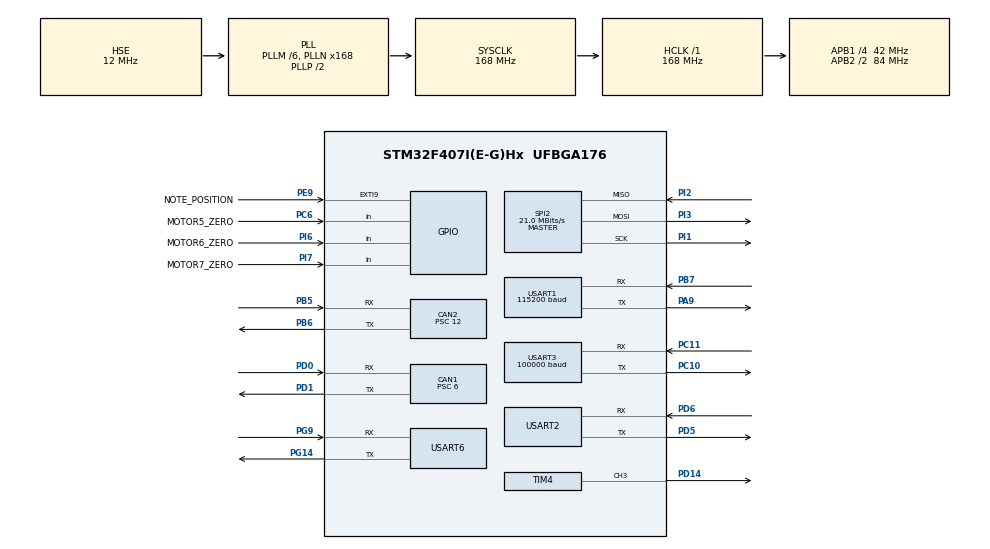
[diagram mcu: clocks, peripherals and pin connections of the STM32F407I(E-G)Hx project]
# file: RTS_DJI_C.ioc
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CAN1.BS1=CAN_BS1_4TQ
CAN1.BS2=CAN_BS2_2TQ
CAN1.CalculateBaudRate=1000000
CAN1.CalculateTimeBit=1000
CAN1.CalculateTimeQuantum=142.85714285714286
CAN1.Prescaler=6
CAN2.BS1=CAN_BS1_4TQ
CAN2.BS2=CAN_BS2_2TQ
CAN2.CalculateBaudRate=500000
CAN2.CalculateTimeBit=2000
CAN2.CalculateTimeQuantum=285.7142857142857
CAN2.Prescaler=12
CAN2.SJW=CAN_SJW_1TQ
FREERTOS.Tasks01=defaultTask,24,128,StartDefaultTask,Default,NULL,Dynamic,NULL,NULL;SBUS,22,128,SBUSTask,Default,NULL,Dynamic,NULL,NULL;ACTION,23,128,ACTIONTask,Default,NULL,Dynamic,NULL,NULL;Position,21,128,PositionTask,Default,NULL,Dynamic,NULL,NULL;Speed,8,128,SpeedTask,Default,NULL,Dynamic,NULL,NULL;IOcontrol,8,128,IOTask,Default,NULL,Dynamic,NULL,NULL;M3508_control,8,128,M3508_Task,Default,NULL,Dynamic,NULL,NULL;SerialPlot_Send,8,128,SerialPlot_Task,Default,NULL,Dynamic,NULL,NULL;Restart,8,128,Restart_Task,Default,NULL,Dynamic,NULL,NULL
Mcu.Family=STM32F4
Mcu.Name=STM32F407I(E-G)Hx
Mcu.Package=UFBGA176
NVIC.CAN1_RX0_IRQn=true\:5\:0\:false\:false\:true\:true\:true\:true\:true
NVIC.EXTI9_5_IRQn=true\:5\:0\:false\:false\:true\:true\:true\:true\:true
NVIC.PriorityGroup=NVIC_PRIORITYGROUP_4
NVIC.TIM4_IRQn=true\:5\:0\:false\:false\:true\:true\:true\:true\:true
NVIC.USART1_IRQn=true\:5\:0\:false\:false\:true\:true\:true\:true\:true
NVIC.USART2_IRQn=true\:5\:0\:false\:false\:true\:true\:true\:true\:true
NVIC.USART3_IRQn=true\:5\:0\:false\:false\:true\:true\:true\:true\:true
NVIC.USART6_IRQn=true\:5\:0\:false\:false\:true\:true\:true\:true\:true
PA13.Mode=Serial_Wire
PA13.Signal=SYS_JTMS-SWDIO
PA14.Mode=Serial_Wire
PA14.Signal=SYS_JTCK-SWCLK
PA9.Mode=Asynchronous
PA9.Signal=USART1_TX
PB5.Mode=CAN_Activate
PB5.Signal=CAN2_RX
PB6.Mode=CAN_Activate
PB6.Signal=CAN2_TX
PB7.Mode=Asynchronous
PB7.Signal=USART1_RX
PC10.Mode=Asynchronous
PC10.Signal=USART3_TX
PC11.Mode=Asynchronous
PC11.Signal=USART3_RX
PC6.GPIO_Label=MOTOR5_ZERO
PC6.GPIO_PuPd=GPIO_PULLUP
PC6.Signal=GPIO_Input
PD0.Mode=CAN_Activate
PD0.Signal=CAN1_RX
PD1.Mode=CAN_Activate
PD1.Signal=CAN1_TX
PD14.Signal=S_TIM4_CH3
PD5.Mode=Asynchronous
PD5.Signal=USART2_TX
PD6.Mode=Asynchronous
PD6.Signal=USART2_RX
PE9.GPIO_Label=NOTE_POSITION
PE9.GPIO_PuPd=GPIO_PULLDOWN
PE9.Signal=GPXTI9
PG14.Mode=Asynchronous
PG14.Signal=USART6_TX
PG9.Mode=Asynchronous
PG9.Signal=USART6_RX
PH0-OSC_IN.Mode=HSE-External-Oscillator
PH0-OSC_IN.Signal=RCC_OSC_IN
PH1-OSC_OUT.Mode=HSE-External-Oscillator
PH1-OSC_OUT.Signal=RCC_OSC_OUT
PI1.Mode=Full_Duplex_Master
PI1.Signal=SPI2_SCK
PI2.Mode=Full_Duplex_Master
PI2.Signal=SPI2_MISO
PI3.Mode=Full_Duplex_Master
PI3.Signal=SPI2_MOSI
PI6.GPIO_Label=MOTOR6_ZERO
PI6.GPIO_PuPd=GPIO_PULLUP
PI6.Signal=GPIO_Input
PI7.GPIO_Label=MOTOR7_ZERO
PI7.GPIO_PuPd=GPIO_PULLUP
PI7.Signal=GPIO_Input
ProjectManager.HeapSize=0x200
ProjectManager.StackSize=0x400
ProjectManager.TargetToolchain=EWARM V8.32
RCC.48MHZClocksFreq_Value=84000000
RCC.AHBFreq_Value=168000000
RCC.APB1CLKDivider=RCC_HCLK_DIV4
RCC.APB1Freq_Value=42000000
RCC.APB1TimFreq_Value=84000000
RCC.APB2CLKDivider=RCC_HCLK_DIV2
RCC.APB2Freq_Value=84000000
RCC.APB2TimFreq_Value=168000000
RCC.CortexFreq_Value=168000000
RCC.HCLKFreq_Value=168000000
RCC.HSE_VALUE=12000000
RCC.HSI_VALUE=16000000
RCC.LSE_VALUE=32768
RCC.PLLM=6
RCC.PLLN=168
RCC.PLLSourceVirtual=RCC_PLLSOURCE_HSE
RCC.SYSCLKFreq_VALUE=168000000
RCC.SYSCLKSource=RCC_SYSCLKSOURCE_PLLCLK
RCC.VCOOutputFreq_Value=336000000
SH.S_TIM4_CH3.0=TIM4_CH3,PWM Generation3 CH3
SPI2.CalculateBaudRate=21.0 MBits/s
SPI2.DataSize=SPI_DATASIZE_16BIT
SPI2.Direction=SPI_DIRECTION_2LINES
SPI2.Mode=SPI_MODE_MASTER
SPI2.VirtualType=VM_MASTER
TIM4.Channel-PWM\ Generation3\ CH3=TIM_CHANNEL_3
TIM4.Period=20999
TIM4.Prescaler=0
TIM4.Pulse-PWM\ Generation3\ CH3=1000
USART1.BaudRate=115200
USART1.Mode=MODE_TX_RX
USART1.StopBits=STOPBITS_1
USART1.VirtualMode=VM_ASYNC
USART2.VirtualMode=VM_ASYNC
USART3.BaudRate=100000
USART3.Mode=MODE_RX
USART3.StopBits=STOPBITS_2
USART3.VirtualMode=VM_ASYNC
USART6.VirtualMode=VM_ASYNC
VP_FREERTOS_VS_CMSIS_V2.Mode=CMSIS_V2
VP_TIM4_VS_ClockSourceINT.Mode=Internal
board=custom

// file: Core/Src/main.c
/* USER CODE BEGIN Header */
/**
  ******************************************************************************
  * @file           : main.c
  * @brief          : Main program body
  ******************************************************************************
  * @attention
  *
  * Copyright (c) 2023 STMicroelectronics.
  * All rights reserved.
  *
  * This software is licensed under terms that can be found in the LICENSE file
  * in the root directory of this software component.
  * If no LICENSE file comes with this software, it is provided AS-IS.
  *
  ******************************************************************************
  */
/* USER CODE END Header */
#include "main.h"
#include "cmsis_os.h"
#include "can.h"
#include "spi.h"
#include "tim.h"
#include "usart.h"
#include "gpio.h"

void SystemClock_Config(void);
void MX_FREERTOS_Init(void);

int main(void)
{

  /* MCU Configuration--------------------------------------------------------*/

  /* Reset of all peripherals, Initializes the Flash interface and the Systick. */
  HAL_Init();

  /* Configure the system clock */
  SystemClock_Config();

  /* Initialize all configured peripherals */
  MX_GPIO_Init();
  MX_CAN1_Init();
  MX_USART1_UART_Init();
  MX_USART6_UART_Init();
  MX_CAN2_Init();
  MX_USART3_UART_Init();
  MX_USART2_UART_Init();
  MX_TIM4_Init();
  MX_SPI2_Init();

  /* Init scheduler */
  osKernelInitialize();

  /* Call init function for freertos objects (in cmsis_os2.c) */
  MX_FREERTOS_Init();

  /* Start scheduler */
  osKernelStart();

  /* We should never get here as control is now taken by the scheduler */

  /* Infinite loop */
  /* USER CODE BEGIN WHILE */
  while (1)
  {
	  //Bee();
	  //Send_SerialPlot_Data(30, 60);
	  //HAL_Delay(10);
    /* USER CODE END WHILE */

  }
}

void SystemClock_Config(void)
{
  RCC_OscInitTypeDef RCC_OscInitStruct = {0};
  RCC_ClkInitTypeDef RCC_ClkInitStruct = {0};

  /** Configure the main internal regulator output voltage
  */
  __HAL_RCC_PWR_CLK_ENABLE();
  __HAL_PWR_VOLTAGESCALING_CONFIG(PWR_REGULATOR_VOLTAGE_SCALE1);

  /** Initializes the RCC Oscillators according to the specified parameters
  * in the RCC_OscInitTypeDef structure.
  */
  RCC_OscInitStruct.OscillatorType = RCC_OSCILLATORTYPE_HSE;
  RCC_OscInitStruct.HSEState = RCC_HSE_ON;
  RCC_OscInitStruct.PLL.PLLState = RCC_PLL_ON;
  RCC_OscInitStruct.PLL.PLLSource = RCC_PLLSOURCE_HSE;
  RCC_OscInitStruct.PLL.PLLM = 6;
  RCC_OscInitStruct.PLL.PLLN = 168;
  RCC_OscInitStruct.PLL.PLLP = RCC_PLLP_DIV2;
  RCC_OscInitStruct.PLL.PLLQ = 4;
  if (HAL_RCC_OscConfig(&RCC_OscInitStruct) != HAL_OK)
  {
    Error_Handler();
  }

  /** Initializes the CPU, AHB and APB buses clocks
  */
  RCC_ClkInitStruct.ClockType = RCC_CLOCKTYPE_HCLK|RCC_CLOCKTYPE_SYSCLK
                              |RCC_CLOCKTYPE_PCLK1|RCC_CLOCKTYPE_PCLK2;
  RCC_ClkInitStruct.SYSCLKSource = RCC_SYSCLKSOURCE_PLLCLK;
  RCC_ClkInitStruct.AHBCLKDivider = RCC_SYSCLK_DIV1;
  RCC_ClkInitStruct.APB1CLKDivider = RCC_HCLK_DIV4;
  RCC_ClkInitStruct.APB2CLKDivider = RCC_HCLK_DIV2;

  if (HAL_RCC_ClockConfig(&RCC_ClkInitStruct, FLASH_LATENCY_5) != HAL_OK)
  {
    Error_Handler();
  }
}

void Error_Handler(void)
{
  __disable_irq();
  while (1)
  {
  }
}

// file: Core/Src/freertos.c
/* USER CODE BEGIN Header */
/**
 ******************************************************************************
 * File Name          : freertos.c
 * Description        : Code for freertos applications
 ******************************************************************************
 * @attention
 *
 * Copyright (c) 2023 STMicroelectronics.
 * All rights reserved.
 *
 * This software is licensed under terms that can be found in the LICENSE file
 * in the root directory of this software component.
 * If no LICENSE file comes with this software, it is provided AS-IS.
 *
 ******************************************************************************
 */
/* USER CODE END Header */

#include "FreeRTOS.h"
#include "task.h"
#include "main.h"
#include "cmsis_os.h"

/* USER CODE BEGIN PD */

float pos_ball_x[10][10] = {0};
float pos_ball_y[10][10] = {0};
extern PIDType PID_Vx_move_distance;
extern PIDType PID_Vy_move_distance;
extern PIDType PID_w_move_distance;
extern PIDType M3508SpeedPID1;
extern PIDType M3508SpeedPID2;
extern PIDType M3508SpeedPID3;
extern PIDType M3508SpeedPID4; //{6, 0.1, 1, 0, 0, 0, 0};
extern PIDType M3508SpeedPID5;
extern PIDType M3508SpeedPID6; // {13, 0.72, 0, 0, 0, 0, 0};
// PIDType M3508SpeedPID4 = {8.2, 0.92, 0, 0, 0, 0, 0, 0, 0}; //{6, 0.1, 1, 0, 0, 0, 0};
// PIDType M3508SpeedPID5 = {8.2, 0.92, 0, 0, 0, 0, 0, 0, 0};
// PIDType M3508SpeedPID6 = {8.2, 0.92, 0, 0, 0, 0, 0, 0, 0}; // {13, 0.72, 0, 0, 0, 0, 0};
// PIDType M3508SpeedPID4 = {20, 0.1, 0, 0, 0, 0, 0, 0, 0}; //{6, 0.1, 1, 0, 0, 0, 0};
// PIDType M3508SpeedPID5 = {20, 0.1, 0, 0, 0, 0, 0, 0, 0};
// PIDType M3508SpeedPID6 = {20, 0.1, 0, 0, 0, 0, 0, 0, 0}; // {13, 0.72, 0, 0, 0, 0, 0};
extern PIDType M3508SpeedPID7;
extern PIDType M3508SpeedPID8;
/* USER CODE END PD */

/* USER CODE BEGIN PM */
int Motor5_Flag = 0;
int Motor6_Flag = 0;
int Motor7_Flag = 0;
float x_dist = 0, y_dist = 0;
int move_flag = 0;
int move_flag_laser = 0;
uint8_t shou_bin_enable = 0;

uint8_t now_pos_x = 0;
uint8_t now_pos_y = 0;
int next_pos_x = 0;
int next_pos_y = 0;
float next_distance_x = 0;
float next_distance_y = 0;
float act_err = 0;
uint8_t pid_done_ball = 0;
// uint8_t flag_test_action = 0;

char staus_char = 0;
// ********************* PID correct struct *********************
PIDType PID_Vx = {2, 0.5, 0, 0, 0, 0, 0, 0, 0};
PIDType PID_Vy = {2, 0.5, 0, 0, 0, 0, 0, 0, 0};
PIDType PID_Vw = {15, 1, 0, 0, 0, 0, 0, 0, 0};
// ********************* PID correct struct *********************

/* USER CODE END PM */

/* Definitions for defaultTask */
osThreadId_t defaultTaskHandle;
const osThreadAttr_t defaultTask_attributes = {
    .name = "defaultTask",
    .stack_size = 128 * 4,
    .priority = (osPriority_t)osPriorityNormal,
};
/* Definitions for SBUS */
osThreadId_t SBUSHandle;
const osThreadAttr_t SBUS_attributes = {
    .name = "SBUS",
    .stack_size = 128 * 4,
    .priority = (osPriority_t)osPriorityBelowNormal6,
};
/* Definitions for ACTION */
osThreadId_t ACTIONHandle;
const osThreadAttr_t ACTION_attributes = {
    .name = "ACTION",
    .stack_size = 128 * 4,
    .priority = (osPriority_t)osPriorityBelowNormal7,
};
/* Definitions for Position */
osThreadId_t PositionHandle;
const osThreadAttr_t Position_attributes = {
    .name = "Position",
    .stack_size = 128 * 4,
    .priority = (osPriority_t)osPriorityBelowNormal5,
};
/* Definitions for Speed */
osThreadId_t SpeedHandle;
const osThreadAttr_t Speed_attributes = {
    .name = "Speed",
    .stack_size = 128 * 4,
    .priority = (osPriority_t)osPriorityLow,
};
/* Definitions for IOcontrol */
osThreadId_t IOcontrolHandle;
const osThreadAttr_t IOcontrol_attributes = {
    .name = "IOcontrol",
    .stack_size = 128 * 4,
    .priority = (osPriority_t)osPriorityLow,
};
/* Definitions for M3508_control */
osThreadId_t M3508_controlHandle;
const osThreadAttr_t M3508_control_attributes = {
    .name = "M3508_control",
    .stack_size = 128 * 4,
    .priority = (osPriority_t)osPriorityLow,
};
/* Definitions for SerialPlot_Send */
osThreadId_t SerialPlot_SendHandle;
const osThreadAttr_t SerialPlot_Send_attributes = {
    .name = "SerialPlot_Send",
    .stack_size = 128 * 4,
    .priority = (osPriority_t)osPriorityLow,
};
/* Definitions for Restart */
osThreadId_t RestartHandle;
const osThreadAttr_t Restart_attributes = {
    .name = "Restart",
    .stack_size = 128 * 4,
    .priority = (osPriority_t)osPriorityLow,
};

void StartDefaultTask(void *argument);
void SBUSTask(void *argument);
void ACTIONTask(void *argument);
void PositionTask(void *argument);
void SpeedTask(void *argument);
void IOTask(void *argument);
void M3508_Task(void *argument);
void SerialPlot_Task(void *argument);
void Restart_Task(void *argument);

void MX_FREERTOS_Init(void); /* (MISRA C 2004 rule 8.1) */

void MX_FREERTOS_Init(void)
{

    /* Create the thread(s) */
    /* creation of defaultTask */
    defaultTaskHandle = osThreadNew(StartDefaultTask, NULL, &defaultTask_attributes);

    /* creation of SBUS */
    SBUSHandle = osThreadNew(SBUSTask, NULL, &SBUS_attributes);

    /* creation of ACTION */
    ACTIONHandle = osThreadNew(ACTIONTask, NULL, &ACTION_attributes);

    /* creation of Position */
    PositionHandle = osThreadNew(PositionTask, NULL, &Position_attributes);

    /* creation of Speed */
    SpeedHandle = osThreadNew(SpeedTask, NULL, &Speed_attributes);

    /* creation of IOcontrol */
    IOcontrolHandle = osThreadNew(IOTask, NULL, &IOcontrol_attributes);

    /* creation of M3508_control */
    M3508_controlHandle = osThreadNew(M3508_Task, NULL, &M3508_control_attributes);

    /* creation of SerialPlot_Send */
    SerialPlot_SendHandle = osThreadNew(SerialPlot_Task, NULL, &SerialPlot_Send_attributes);

    /* creation of Restart */
    RestartHandle = osThreadNew(Restart_Task, NULL, &Restart_attributes);

}

void StartDefaultTask(void *argument)
{
    /* USER CODE BEGIN StartDefaultTask */

    pos_ball_x[6][2] = 3.2016711233 - 0.01;
    pos_ball_y[6][2] = 0.48383681 + 0.04;

    pos_ball_x[6][1] = 3.2016711233 - 0.01;
    pos_ball_y[6][1] = 1.003 + 0.02;

    pos_ball_x[5][1] = 2.71114111 - 0.05;
    pos_ball_y[5][1] = 1.003 + 0.02;

    pos_ball_x[5][2] = 2.71114111 - 0.03;
    pos_ball_y[5][2] = 0.48383681 + 0.04;

    pos_ball_x[4][1] = 2.2161109444 - 0.035;
    pos_ball_y[4][1] = 1.003 + 0.02;

    pos_ball_x[4][2] = 2.2161109444 - 0.02;
    pos_ball_y[4][2] = 0.48383681 + 0.03;

    //    pos_ball_x[3][1] = 1.72358107;
    //    pos_ball_y[3][1] = 1.003;
    //
    //    pos_ball_x[3][2] = 1.72358107;
    //    pos_ball_y[3][2] = 0.48383681;
    //
    //    pos_ball_x[2][1] = 1.23705136;
    //    pos_ball_y[2][1] = 1.003;
    //
    //    pos_ball_x[2][2] = 1.23705136;
    //    pos_ball_y[2][2] = 0.48383681;
    //
    //    pos_ball_x[1][1] = 0.742521286;
    //    pos_ball_y[1][1] = 1.003;
    //
    //    pos_ball_x[1][2] = 0.742521286;
    //    pos_ball_y[1][2] = 0.48383681;

    pos_ball_x[3][1] = 1.72358107 - 0.06;
    pos_ball_y[3][1] = 0.869976759 + 0.55 + 0.285;

    pos_ball_x[3][2] = 1.72358107 - 0.06;
    pos_ball_y[3][2] = 0.869976759 + 0.20;

    pos_ball_x[2][1] = 1.23705136 - 0.07;
    pos_ball_y[2][1] = 0.899976759 + 0.5 + 0.20 + 0.1;

    pos_ball_x[2][2] = 1.23705136 - 0.02 - 0.016;
    pos_ball_y[2][2] = 0.899976759 + 0.08 + 0.1 + 0.1;

    pos_ball_x[1][1] = 0.742521286 - 0.045;
    pos_ball_y[1][1] = 1.4681708811 + 0.5 + 0.07;

    pos_ball_x[1][2] = 0.742521286 - 0.045;
    pos_ball_y[1][2] = 1.4681708811 + 0.05;
    // 1.4681708811
    // 9.38148319E-1
    // 8.69976759E-1
    /* Infinite loop */
    for (;;)
    {
        osDelay(1);
    }
    /* USER CODE END StartDefaultTask */
}

void SBUSTask(void *argument)
{
    /* USER CODE BEGIN SBUSTask */
    /* Infinite loop */
    for (;;)
    {
        /* if (SBUS.ConnectState > 0)
           SBUS.ConnectState = SBUS.ConnectState - 1;
         switch (SBUS_Analyse_Switch(SBUS.CH8))
         {
         case -1:
           break;
         case 0:
           Robot.Robot_Contorl_Mode = CONTROL_MANUAL;
           Robot.Robot_in_self.velocity_exp.Vx = ROBOT_SPEED_MAX * SBUS_Analyse_Percent(SBUS.CH11) * (SBUS_Analyse_Percent(SBUS.CH1) - 0.5) * 2;
           Robot.Robot_in_self.velocity_exp.Vy = ROBOT_SPEED_MAX * SBUS_Analyse_Percent(SBUS.CH11) * (SBUS_Analyse_Percent(SBUS.CH2) - 0.5) * 2;
           Robot.Robot_in_self.velocity_exp.Vw = ROBOT_SPEED_YAW_MAX * SBUS_Analyse_Percent(SBUS.CH11) * (SBUS_Analyse_Percent(SBUS.CH4) - 0.5) * 20;
           break;
         case 1:
           Robot.Robot_Contorl_Mode = CONTROL_WORLD;
           Robot.Robot_in_world.velocity_exp.Vx = ROBOT_SPEED_MAX * SBUS_Analyse_Percent(SBUS.CH11) * (SBUS_Analyse_Percent(SBUS.CH1) - 0.5) * 2;
           Robot.Robot_in_world.velocity_exp.Vy = ROBOT_SPEED_MAX * SBUS_Analyse_Percent(SBUS.CH11) * (SBUS_Analyse_Percent(SBUS.CH2) - 0.5) * 2;
           Robot.Robot_in_world.velocity_exp.Vw = ROBOT_SPEED_YAW_MAX * SBUS_Analyse_Percent(SBUS.CH11) * (SBUS_Analyse_Percent(SBUS.CH4) - 0.5) * 20;
           break;
         case 2:
           Robot.Robot_Contorl_Mode = CONTROL_AUTO;
           break;
         }*/
        if (laser_status == 5 || laser_status == 10 || laser_status == 15 || (laser_status == 18 && SBUS_Analyse_Switch(SBUS.CH13) == 0))
        {
            if (jishu_0_x >= 1 && jishu_0_y >= 1 /* && jishu_0_w >= 1*/)
            {
                Robot.Robot_in_world.velocity_exp.Vy = 0;
                Robot.Robot_in_world.velocity_exp.Vx = 0;
                Robot.Robot_in_world.velocity_exp.Vw = 0;
                if (laser_status <= 18)
                {
                    move_flag_laser = 0;

                    //                if (laser_status == 15)
                    //                {
                    //                    HAL_UART_Transmit(&huart6, rotate_servo_command, 1, 1000);
                    //                    while (lllflag != 1)
                    //                    {
                    //                        osDelay(1);
                    //                    }
                    //                    lllflag = 0;
                    //                }
                    if (Release_Seed_Flag == 1)
                    {
                        HAL_UART_Transmit(&huart6, Paw_Command, 1, 1000);
                        Release_Seed_Flag = 0;
                    }

                    if (laser_status == 2 || laser_status == 3 || laser_status == 7 || laser_status == 8 || laser_status == 12 || laser_status == 13)
                    {
                        osDelay(1200);
                    }

                    // ���ߴ���
                    //  staus_char = laser_status + 48;
                    //  HAL_UART_Transmit(&huart1, &staus_char, 1, 1000);
                    //  HAL_UART_Transmit(&huart1, &pos[1], 1, 1000);
                    //  HAL_UART_Transmit(&huart1, &pos[9], 1, 1000);

                    move_flag_laser = 1;
                    laser_status++;
                }
                else
                {
                    pid_done_ball = 1;
                }
                jishu_0_x = 0;
                jishu_0_y = 0;
                jishu_0_w = 0;
                // x_pre = Robot.Robot_in_self.position_now.x;
                // y_pre = Robot.Robot_in_self.position_now.y;
                yaw_pre = Robot.Robot_in_self.position_now.yaw;
                if (laser_status == 3 && laser_status == 8 && laser_status == 13)
                {
                    pid_reset(&PID_Vx_move_distance);
                    pid_reset(&PID_Vy_move_distance);
                    pid_reset(&PID_w_move_distance);
                }
            }
        }
        else
        {
            if (jishu_0_x >= 25 && jishu_0_y >= 25 && jishu_0_w >= 25)
            {
                Robot.Robot_in_world.velocity_exp.Vy = 0;
                Robot.Robot_in_world.velocity_exp.Vx = 0;
                Robot.Robot_in_world.velocity_exp.Vw = 0;
                if (laser_status <= 18)
                {
                    move_flag_laser = 0;

                    //                if (laser_status == 15)
                    //                {
                    //                    HAL_UART_Transmit(&huart6, rotate_servo_command, 1, 1000);
                    //                    while (lllflag != 1)
                    //                    {
                    //                        osDelay(1);
                    //                    }
                    //                    lllflag = 0;
                    //                }
                    if (Release_Seed_Flag == 1)
                    {
                        HAL_UART_Transmit(&huart6, Paw_Command, 1, 1000);
                        Release_Seed_Flag = 0;
                    }

                    if (laser_status == 2 || laser_status == 3 || laser_status == 7 || laser_status == 8 || laser_status == 12 || laser_status == 13)
                    {
                        osDelay(1200);
                    }

                    // ���ߴ���
                    //  staus_char = laser_status + 48;
                    //  HAL_UART_Transmit(&huart1, &staus_char, 1, 1000);
                    //  HAL_UART_Transmit(&huart1, &pos[1], 1, 1000);
                    //  HAL_UART_Transmit(&huart1, &pos[9], 1, 1000);

                    move_flag_laser = 1;
                    laser_status++;
                }
                else
                {
                    pid_done_ball = 1;
                }
                jishu_0_x = 0;
                jishu_0_y = 0;
                jishu_0_w = 0;
                // x_pre = Robot.Robot_in_self.position_now.x;
                // y_pre = Robot.Robot_in_self.position_now.y;
                yaw_pre = Robot.Robot_in_self.position_now.yaw;
                if (laser_status == 3 && laser_status == 8 && laser_status == 13)
                {
                    pid_reset(&PID_Vx_move_distance);
                    pid_reset(&PID_Vy_move_distance);
                    pid_reset(&PID_w_move_distance);
                }
            }
        }
        // }

        osDelay(10);
    }
    /* USER CODE END SBUSTask */
}

void ACTIONTask(void *argument)
{
    /* USER CODE BEGIN ACTIONTask */
    //    while((pow(Robot.Robot_in_self.position_now.y,2) + pow(Robot.Robot_in_self.position_now.x,2)) < 0.04){
    //        osDelay(2);
    //    }
    //   uint8_t i = 1;
    uint8_t StartStatusChange = 1;
    /* Infinite loop */
    for (;;)
    {
        // Bee();
        //		if(Bee_flag == 0){
        //		        if(Robot.Robot_in_self.position_now.x != 0 || Robot.Robot_in_self.position_now.y != 0){
        //    		    HAL_TIM_PWM_Start(&htim4, TIM_CHANNEL_3);
        //			    osDelay(100);
        //			    HAL_TIM_PWM_Stop(&htim4, TIM_CHANNEL_3);
        //			    Bee_flag = 1;
        //  		    }
        //	    }
        if (SBUS_Analyse_Switch(SBUS.CH12) == 2)
        {
            move_flag_laser = 1;
            if (StartStatusChange)
            {
                if (SBUS_Analyse_Switch(SBUS.CH5) == 0)
                {
                    laser_status = 17;
                }
                else
                    laser_status = 1;
                Action_Signal_Send();
                StartStatusChange--;
            }
        }
        if (SBUS_Analyse_Switch(SBUS.CH12) != 2)
        {
            move_flag_laser = 0;
        }
        //        if (SBUS_Analyse_Switch(SBUS.CH13) == 0) {
        //            status++;
        //            move_flag = 1;
        //            while (SBUS_Analyse_Switch(SBUS.CH13) == 0)
        //            {
        //                osDelay(2);
        //            }
        //        }

        //  if (SBUS_Analyse_Switch(SBUS.CH12) == 0) {
        //     laser_status++;
        //     move_flag_laser = 1;
        // 	//HAL_UART_Transmit(&huart6, Paw_Command, 1, 1000);
        //     while (SBUS_Analyse_Switch(SBUS.CH12) == 0)
        //     {
        //         osDelay(2);
        //     }
        // }

        osDelay(5);
    }
    /* USER CODE END ACTIONTask */
}

void PositionTask(void *argument)
{
    /* USER CODE BEGIN PositionTask */
    /* Infinite loop */
    for (;;)
    {
        if (move_flag_laser)
        {
            if (laser_status == 1) // From start point to the place where robot firstly catch seeds
            {
                // Robot run forward
                Robot.Robot_in_world.velocity_exp.Vy = 1.5;
                Robot.Robot_in_world.velocity_exp.Vx = 0;
                osDelay(400);

                // Robot run left
                Robot.Robot_in_world.velocity_exp.Vy = 0;
                Robot.Robot_in_world.velocity_exp.Vx = -1.3;
                osDelay(1310);

                // Robot run back
                Robot.Robot_in_world.velocity_exp.Vy = -0.7;
                Robot.Robot_in_world.velocity_exp.Vx = 0;
                osDelay(486);
                Robot.Robot_in_world.velocity_exp.Vy = -0.5;
                Robot.Robot_in_world.velocity_exp.Vx = 0;
                osDelay(391);

                // Robot run to catch seed
                Robot.Robot_in_world.velocity_exp.Vy = -0.2;
                Robot.Robot_in_world.velocity_exp.Vx = -0.6;

                while (laser_status == 1)
                {
                    osDelay(1);
                }
                if (laser_status == 2)
                {
                    Robot.Robot_in_world.velocity_exp.Vx = 0;
                    Robot.Robot_in_world.velocity_exp.Vy = -0.2;
                    osDelay(900);
                    Robot.Robot_in_world.velocity_exp.Vy = 0;
                }
            }
            else if (laser_status == 2) // ��һ������
            {
                Move_Distance_Laser(3.0770452022 + 0.025 + 0.09768, 1.3863713744 + 0.01, 0);
                Release_Seed_Flag = 1;
            }
            else if (laser_status == 3) // �ŵڶ�����
            {
                Move_Distance_Laser(2.79765772 + 0.09768, 0.859318077 + 0.01, 0);
                Release_Seed_Flag = 1;
            }
            else if (laser_status == 4) // ���Ҳ�Ҫ��̫��
            {
                Robot.Robot_in_world.velocity_exp.Vy = 0.6;
                Robot.Robot_in_world.velocity_exp.Vx = -1;
                osDelay(700);
                Robot.Robot_in_world.velocity_exp.Vy = -0.6;
                Robot.Robot_in_world.velocity_exp.Vx = -1.4;
                osDelay(500);
                Robot.Robot_in_world.velocity_exp.Vy = -1;
                Robot.Robot_in_world.velocity_exp.Vx = 0;
                osDelay(900);
                laser_status++;
                Enable_flag = 1;
                Robot.Robot_in_world.velocity_exp.Vy = 0;
                Robot.Robot_in_world.velocity_exp.Vx = 0;
                Release_Seed_Flag = 0;
            }
            else if (laser_status == 5) // ��ȡ��ǰ��һ��
            {
                Move_Distance_Laser(2.03742671 + 0.09768, 3.4714949133, 0);
                if (Enable_flag == 1) // ��ֻ֤��һ��
                {
                    HAL_UART_Transmit(&huart6, Enable_Command, 1, 1000);
                    Enable_flag = 0;
                }
                Release_Seed_Flag = 0;
            }
            else if (laser_status == 6) // ȡ�ڶ�����
            {
                Release_Seed_Flag = 0;
                Robot.Robot_in_world.velocity_exp.Vy = -0.5;
                Robot.Robot_in_world.velocity_exp.Vx = 0;
                osDelay(800);
                // Robot run to catch seed
                Robot.Robot_in_world.velocity_exp.Vy = -0.2;
                Robot.Robot_in_world.velocity_exp.Vx = -0.6;
                while (laser_status == 6)
                {
                    osDelay(1);
                }
                if (laser_status == 7)
                {
                    Robot.Robot_in_world.velocity_exp.Vy = -0.2;
                    Robot.Robot_in_world.velocity_exp.Vx = 0;
                    osDelay(900);
                    Robot.Robot_in_world.velocity_exp.Vy = 0;
                }
            }
            else if (laser_status == 7) // ����������
            {
                Move_Distance_Laser(2.077 + 0.09768, 1.3864 + 0.01, 0);
                Release_Seed_Flag = 1;
            }
            else if (laser_status == 8)
            {
                Move_Distance_Laser(1.7976 + 0.09768, 0.8593 + 0.01, 0);
                Release_Seed_Flag = 1;
            }
            else if (laser_status == 9) // ���Ҳ�Ҫ��̫��
            {
                Robot.Robot_in_world.velocity_exp.Vy = 0.6;
                Robot.Robot_in_world.velocity_exp.Vx = -1;
                osDelay(700);
                Robot.Robot_in_world.velocity_exp.Vy = -0.6;
                Robot.Robot_in_world.velocity_exp.Vx = -1.4;
                osDelay(500);
                Robot.Robot_in_world.velocity_exp.Vy = -1;
                Robot.Robot_in_world.velocity_exp.Vx = 0;
                osDelay(900);
                laser_status++;
                Enable_flag = 1;
                Robot.Robot_in_world.velocity_exp.Vy = 0;
                Robot.Robot_in_world.velocity_exp.Vx = 0;
                Release_Seed_Flag = 0;
            }
            else if (laser_status == 10) // ��ȡ��ǰ��һ��
            {
                Move_Distance_Laser(1.04817211 + 0.09768, 3.5407648, 0);
                if (Enable_flag == 1) // ��ֻ֤��һ��
                {
                    HAL_UART_Transmit(&huart6, Enable_Command, 1, 1000);
                    Enable_flag = 0;
                }
                Release_Seed_Flag = 0;
            }

            else if (laser_status == 11) // ȡ�ڶ�����
            {
                Release_Seed_Flag = 0;
                Robot.Robot_in_world.velocity_exp.Vy = -0.5;
                Robot.Robot_in_world.velocity_exp.Vx = 0;
                osDelay(800);
                // Robot run to catch seed
                Robot.Robot_in_world.velocity_exp.Vy = -0.2;
                Robot.Robot_in_world.velocity_exp.Vx = -0.6;
                while (laser_status == 11)
                {
                    osDelay(1);
                }
                if (laser_status == 12)
                {
                    Robot.Robot_in_world.velocity_exp.Vy = -0.2;
                    Robot.Robot_in_world.velocity_exp.Vx = 0;
                    osDelay(900);
                    Robot.Robot_in_world.velocity_exp.Vy = 0;
                }
            }
            else if (laser_status == 12) // ���������????
            {
                Move_Distance_Laser(1.077 + 0.09768, 1.3864 + 0.015, 0);
                Release_Seed_Flag = 1;
            }
            else if (laser_status == 13)
            {
                Move_Distance_Laser(0.7976 + 0.09768, 0.8593 + 0.01, 0);
                Release_Seed_Flag = 1;
            }
            else if (laser_status == 14) // ���Ҳ�Ҫ��̫��
            {
                Release_Seed_Flag = 0;
                Robot.Robot_in_world.velocity_exp.Vy = 1;
                Robot.Robot_in_world.velocity_exp.Vx = 0;
                osDelay(360);
                laser_status++;
                Robot.Robot_in_world.velocity_exp.Vy = 0;
                Robot.Robot_in_world.velocity_exp.Vx = 0;
            }
            else if (laser_status == 15)
            {
                Move_Distance_Laser(3.89188122 + 0.09768, 0.59679532 - 0.02, 0);
            }
            else if (laser_status == 16)
            {
                HAL_UART_Transmit(&huart6, area_2, 1, 1000);
                Robot.Robot_in_world.velocity_exp.Vx = 0;
                Robot.Robot_in_world.velocity_exp.Vy = -2;
                osDelay(750);
                Robot.Robot_in_world.velocity_exp.Vx = 0;
                Robot.Robot_in_world.velocity_exp.Vy = 0;
                osDelay(80);

                Robot.Robot_in_world.velocity_exp.Vx = 1.5;
                Robot.Robot_in_world.velocity_exp.Vy = 0;
                osDelay(1190);
                Robot.Robot_in_world.velocity_exp.Vx = 0;
                Robot.Robot_in_world.velocity_exp.Vy = 0;
                osDelay(80);

                Robot.Robot_in_world.velocity_exp.Vx = 0;
                Robot.Robot_in_world.velocity_exp.Vy = 1.7;
                osDelay(2120);
                laser_status++;
                Robot.Robot_in_world.velocity_exp.Vy = 0;
                Robot.Robot_in_world.velocity_exp.Vx = 0;
            }
            else if (laser_status == 17)
            {
                while (SBUS_Analyse_Switch(SBUS.CH13) == 1)
                {
                    osDelay(1);
                }

                if (SBUS_Analyse_Switch(SBUS.CH13) == 0)
                {
                    Move_Certain_W_PID(2 * PI / 3);
                }
                else if (SBUS_Analyse_Switch(SBUS.CH13) == 2)
                {
                    Move_Certain_W_PID(PI / 6);
                }
            }
            else if (laser_status == 18)
            {
                // Action_Clear();
                if (SBUS_Analyse_Switch(SBUS.CH13) == 0)
                {
                    PID_Vy_Laser_area2(Robot.Robot_in_self.position_now.x, pos_ball_y[4][2], 2 * PI / 3);
                }
                else if (SBUS_Analyse_Switch(SBUS.CH13) == 2)
                {
                    while (laser_status == 18)
                    {
                        Move_Distance_Laser_3(1.657335, 1.493054 - 0.03, PI / 6);
                        osDelay(1);
                    }
                    laser_status = 18;

                    HAL_UART_Transmit(&huart6, get_ball, 1, 1000);
                    osDelay(2200);

                    Robot.Robot_in_world.velocity_exp.Vx = 1;
                    Robot.Robot_in_world.velocity_exp.Vy = 0;
                    osDelay(1000);
                    Robot.Robot_in_world.velocity_exp.Vx = 0;
                    Robot.Robot_in_world.velocity_exp.Vy = 0;
                    osDelay(50);
                    while (laser_status == 18)
                    {
                        Move_Certain_W_PID(2 * PI / 3);
                        osDelay(1);
                    }
                    laser_status = 18;
                    HAL_UART_Transmit(&huart6, &(ShootBall_Num[6 - 1]), 1, 1000);
                    while (laser_status == 18)
                    {
                        PID_Vy_Laser_area2(Robot.Robot_in_self.position_now.x, pos_ball_y[4][2], 2 * PI / 3);
                        osDelay(1);
                    }
                }
            }
            //            else if (laser_status == 19)
            //            { // ԭ��
            //                Move_Distance_Laser_2(pos_ball_x[4][2], pos_ball_y[4][2] - 0.03, 2 * PI / 3);
            //                now_pos_x = 4;
            //                now_pos_y = 2;
            //            }
        }
        osDelay(1);
    }
    /* USER CODE END PositionTask */
}

void SpeedTask(void *argument)
{
    /* USER CODE BEGIN SpeedTask */
    /* Infinite loop */
    for (;;) // Clockwise: Vw > 0, yaw < 0
    {
        if ((!move_flag_laser) && laser_status <= 18)
        {
            if (SBUS.CH2 > 1074 && SBUS.CH2 <= 1385)
            {
                Robot.Robot_in_world.velocity_exp.Vy = -1.5;
            }
            else if (SBUS.CH2 > 1385 && SBUS.CH2 <= 1695)
            {
                Robot.Robot_in_world.velocity_exp.Vy = -2;
            }
            else if (SBUS.CH2 >= 663 && SBUS.CH2 < 974)
            {
                Robot.Robot_in_world.velocity_exp.Vy = 1.5;
            }
            else if (SBUS.CH2 >= 353 && SBUS.CH2 < 663)
            {
                Robot.Robot_in_world.velocity_exp.Vy = 2;
            }
            else if (SBUS.CH2 >= 974 && SBUS.CH2 <= 1074)
            {
                Robot.Robot_in_world.velocity_exp.Vy = 0;
            }

            if (SBUS.CH1 > 1074 && SBUS.CH1 <= 1385)
            {
                Robot.Robot_in_world.velocity_exp.Vx = 1;
            }
            else if (SBUS.CH1 > 1385 && SBUS.CH1 <= 1695)
            {
                Robot.Robot_in_world.velocity_exp.Vx = 1;
            }
            else if (SBUS.CH1 >= 663 && SBUS.CH1 < 974)
            {
                Robot.Robot_in_world.velocity_exp.Vx = -1;
            }
            else if (SBUS.CH1 >= 353 && SBUS.CH1 < 663)
            {
                Robot.Robot_in_world.velocity_exp.Vx = -1;
            }
            else if (SBUS.CH1 >= 974 && SBUS.CH1 <= 1074)
            {
                Robot.Robot_in_world.velocity_exp.Vx = 0;
            }

            if (SBUS.CH4 > 1074 && SBUS.CH4 <= 1385)
            {
                Robot.Robot_in_world.velocity_exp.Vw = 0.6;
            }
            else if (SBUS.CH4 > 1385 && SBUS.CH4 <= 1695)
            {
                Robot.Robot_in_world.velocity_exp.Vw = 1.0;
            }
            else if (SBUS.CH4 >= 663 && SBUS.CH4 < 974)
            {
                Robot.Robot_in_world.velocity_exp.Vw = -0.6;
            }
            else if (SBUS.CH4 >= 353 && SBUS.CH4 < 663)
            {
                Robot.Robot_in_world.velocity_exp.Vw = -1.0;
            }
            else if (SBUS.CH4 >= 974 && SBUS.CH4 <= 1074)
            {
                Robot.Robot_in_world.velocity_exp.Vw = 0;
            }
        }
        else if ((!move_flag_laser) && laser_status > 18)
        {
            if (SBUS.CH2 > 1074 && SBUS.CH2 <= 1385)
            {
                Robot.Robot_in_world.velocity_exp.Vy = -0.5;
            }
            else if (SBUS.CH2 > 1385 && SBUS.CH2 <= 1695)
            {
                Robot.Robot_in_world.velocity_exp.Vy = -0.5;
            }
            else if (SBUS.CH2 >= 663 && SBUS.CH2 < 974)
            {
                Robot.Robot_in_world.velocity_exp.Vy = 0.5;
            }
            else if (SBUS.CH2 >= 353 && SBUS.CH2 < 663)
            {
                Robot.Robot_in_world.velocity_exp.Vy = 0.5;
            }
            else if (SBUS.CH2 >= 974 && SBUS.CH2 <= 1074)
            {
                Robot.Robot_in_world.velocity_exp.Vy = 0;
            }

            if (SBUS_Analyse_Switch(SBUS.CH8) == 0)
            {
                if (SBUS.CH1 > 1074 && SBUS.CH1 <= 1385)
                {
                    Robot.Robot_in_world.velocity_exp.Vx = 0;
                }
                else if (SBUS.CH1 > 1385 && SBUS.CH1 <= 1695)
                {
                    Robot.Robot_in_world.velocity_exp.Vx = 0;
                }
                else if (SBUS.CH1 >= 663 && SBUS.CH1 < 974)
                {
                    Robot.Robot_in_world.velocity_exp.Vx = 0;
                }
                else if (SBUS.CH1 >= 353 && SBUS.CH1 < 663)
                {
                    Robot.Robot_in_world.velocity_exp.Vx = 0;
                }
                else if (SBUS.CH1 >= 974 && SBUS.CH1 <= 1074)
                {
                    Robot.Robot_in_world.velocity_exp.Vx = 0;
                }
            }
            else if (SBUS_Analyse_Switch(SBUS.CH8) == 2)
            {
                if (SBUS.CH1 > 1074 && SBUS.CH1 <= 1385)
                {
                    Robot.Robot_in_world.velocity_exp.Vx = 0;
                }
                else if (SBUS.CH1 > 1385 && SBUS.CH1 <= 1695)
                {
                    Robot.Robot_in_world.velocity_exp.Vx = 0;
                }
                else if (SBUS.CH1 >= 663 && SBUS.CH1 < 974)
                {
                    Robot.Robot_in_world.velocity_exp.Vx = 0;
                }
                else if (SBUS.CH1 >= 353 && SBUS.CH1 < 663)
                {
                    Robot.Robot_in_world.velocity_exp.Vx = 0;
                }
                else if (SBUS.CH1 >= 974 && SBUS.CH1 <= 1074)
                {
                    Robot.Robot_in_world.velocity_exp.Vx = 0;
                }
            }

            if (SBUS.CH4 > 1074 && SBUS.CH4 <= 1385)
            {
                Robot.Robot_in_world.velocity_exp.Vw = 0.6;
            }
            else if (SBUS.CH4 > 1385 && SBUS.CH4 <= 1695)
            {
                Robot.Robot_in_world.velocity_exp.Vw = 1.0;
            }
            else if (SBUS.CH4 >= 663 && SBUS.CH4 < 974)
            {
                Robot.Robot_in_world.velocity_exp.Vw = -0.6;
            }
            else if (SBUS.CH4 >= 353 && SBUS.CH4 < 663)
            {
                Robot.Robot_in_world.velocity_exp.Vw = -1.0;
            }
            else if (SBUS.CH4 >= 974 && SBUS.CH4 <= 1074)
            {
                Robot.Robot_in_world.velocity_exp.Vw = 0;
            }
        }

        osDelay(5);
    }
    /* USER CODE END SpeedTask */
}

/* USER CODE BEGIN Header_IOTask */

/**
 * @brief Function implementing the IOcontrol thread.
 * @param argument: Not use
 * @retval None
 */
/* USER CODE END Header_IOTask */
void IOTask(void *argument)
{
    /* USER CODE BEGIN IOTask */
    //	uint8_t usart_flag = 1;

    /* Infinite loop */
    for (;;)
    {
        if (laser_status > 18 && SBUS_Analyse_Switch(SBUS.CH12) == 2)
        {
            while (SBUS_Analyse_Switch(SBUS.CH14) == 0)
            {
                osDelay(1);
            }
            // Robot.Robot_in_world.velocity_exp.Vy = 0.7;
            // Robot.Robot_in_world.velocity_exp.Vx = 0;
            // osDelay(100);
            // Robot.Robot_in_world.velocity_exp.Vy = 0;
            // Robot.Robot_in_world.velocity_exp.Vx = 0;
            // osDelay(500);
            if (SBUS_Analyse_Switch(SBUS.CH12) == 2)
            {
                if (WorkChannel >= 0)
                {
                    next_pos_y = WorkChannel / 6 + 1;
                    if (WorkChannel <= 5)
                    {
                        next_pos_x = WorkChannel + 1;
                    }
                    else
                    {
                        next_pos_x = WorkChannel - 5;
                    }
                    HAL_UART_Transmit(&huart6, &(ShootBall_Num[next_pos_x - 1]), 1, 1000);
                    next_distance_x = pos_ball_x[next_pos_x][next_pos_y];
                    next_distance_y = pos_ball_y[next_pos_x][next_pos_y];

                    //----------------------------------------------------
                    //----------------------------------------------------

                    Robot.Robot_in_world.velocity_exp.Vy = 0.7;
                    Robot.Robot_in_world.velocity_exp.Vx = 0;
                    osDelay(100);
                    Robot.Robot_in_world.velocity_exp.Vy = 0;
                    Robot.Robot_in_world.velocity_exp.Vx = 0;
                    osDelay(500);

                    // if (next_distance_x > 3)
                    // {
                    //     Robot.Robot_in_world.velocity_exp.Vy = 0.7;
                    //     Robot.Robot_in_world.velocity_exp.Vx = 0;
                    //     osDelay(100);
                    //     Robot.Robot_in_world.velocity_exp.Vy = 0;
                    //     Robot.Robot_in_world.velocity_exp.Vx = 0;
                    //     osDelay(500);
                    // }
                    //----------------------------------------------------
                    //----------------------------------------------------

                    y_pre = Robot.Robot_in_self.position_now.y;
                    while (pid_done_ball == 0 && SBUS_Analyse_Switch(SBUS.CH12) == 2)
                    {
                        PID_Vx_Laser_area2(next_distance_x, y_pre, 2 * PI / 3);
                        osDelay(1);
                    }
                    pid_done_ball = 0;

                    Robot.Robot_in_world.velocity_exp.Vx = 0;
                    Robot.Robot_in_world.velocity_exp.Vy = 0;
                    osDelay(80);
                    if (next_pos_y == 1)
                    {
                        if (next_pos_x > 3)
                        {
                            x_pre = Robot.Robot_in_self.position_now.x;
                            while (pid_done_ball == 0 && SBUS_Analyse_Switch(SBUS.CH12) == 2)
                            {

                                PID_Vy_Laser_area2(x_pre, next_distance_y, 2 * PI / 3);
                                osDelay(1);
                            }
                            pid_done_ball = 0;

                            if (SBUS_Analyse_Switch(SBUS.CH12) == 2)
                            {
                                HAL_UART_Transmit(&huart6, get_ball, 1, 1000);
                                osDelay(2200);
                            }

                            x_pre = Robot.Robot_in_self.position_now.x;
                            while (pid_done_ball == 0 && SBUS_Analyse_Switch(SBUS.CH12) == 2)
                            {
                                PID_Vy_Laser_area2(x_pre, pos_ball_y[next_pos_x][2], 2 * PI / 3);
                                osDelay(1);
                            }
                            pid_done_ball = 0;

                            // HAL_UART_Transmit(&huart6, shoot_ball, 1, 1000);
                        }
                        else
                        {
                            if (next_pos_x == 1)
                            {
                                y_pre = Robot.Robot_in_self.position_now.y;
                                x_pre = Robot.Robot_in_self.position_now.x;

                                while (pid_done_ball == 0 && SBUS_Analyse_Switch(SBUS.CH12) == 2)
                                {
                                    // PID_Vx_Vy_action(0, pos_ball_y[next_pos_x][2] - pos_ball_y[next_pos_x][1], 2 * PI / 3);
                                    PID_Vy_Laser_area2(x_pre, next_distance_y, 2 * PI / 3);
                                    osDelay(1);
                                }
                                pid_done_ball = 0;

                                if (SBUS_Analyse_Switch(SBUS.CH12) == 2)
                                {
                                    HAL_UART_Transmit(&huart6, get_ball, 1, 1000);
                                    osDelay(2200);
                                }

                                x_pre = Robot.Robot_in_self.position_now.x;
                                y_pre = Robot.Robot_in_self.position_now.y;

                                while (pid_done_ball == 0 && SBUS_Analyse_Switch(SBUS.CH12) == 2)
                                {
                                    // PID_Vx_Vy_action(0, pos_ball_y[next_pos_x][1] - pos_ball_y[next_pos_x][2], 2 * PI / 3);
                                    PID_Vy_Laser_area2(x_pre, pos_ball_y[next_pos_x][2], 2 * PI / 3);
                                    osDelay(1);
                                }
                                pid_done_ball = 0;
                            }

                            // HAL_UART_Transmit(&huart6, shoot_ball, 1, 1000);
                        }
                    }
                    else if (next_pos_y == 2)
                    {
                        //	if(next_pos_x > 3){
                        if (next_pos_x > 3 || next_pos_x == 1)
                        {
                            x_pre = Robot.Robot_in_self.position_now.x;
                            while (pid_done_ball == 0 && SBUS_Analyse_Switch(SBUS.CH12) == 2)
                            {
                                PID_Vy_Laser_area2(x_pre, next_distance_y, 2 * PI / 3);
                                osDelay(1);
                            }
                            pid_done_ball = 0;
                            //	}

                            if (SBUS_Analyse_Switch(SBUS.CH12) == 2)
                            {
                                HAL_UART_Transmit(&huart6, get_ball, 1, 1000);
                                osDelay(1800);
                            }
                            // HAL_UART_Transmit(&huart6, shoot_ball, 1, 1000);
                        }
                    }
                    if (next_pos_x > 3 || next_pos_x == 1)
                    {
                        while (SBUS_Analyse_Switch(SBUS.CH14) == 0 && SBUS_Analyse_Switch(SBUS.CH12) == 2)
                        {
                            osDelay(1);
                        }
                        if (SBUS_Analyse_Switch(SBUS.CH12) == 2)
                        {
                            HAL_UART_Transmit(&huart6, shoot_ball, 1, 1000);
                        }
                    }
                    // Action_Clear();

                    WorkChannel = -1;
                }
                while (SBUS_Analyse_Switch(SBUS.CH14) == 2 && SBUS_Analyse_Switch(SBUS.CH12) == 2)
                {
                    osDelay(1);
                }
            }
        }
        osDelay(1);
    }
    /* USER CODE END IOTask */
}

void M3508_Task(void *argument)
{
    /* USER CODE BEGIN M3508_Task */
    /* Infinite loop */
    for (;;)
    {
        Robot_Velocity_World_To_Self();
        Robot_Velocity_To_Wheel_Speed();
        Wheel_Speed_To_Motor();

        // M3508_Motor_Position_Ctrl();
        M3508_Motor_Speed_Ctrl();
        M3508_Motor_Send_Current();
        M3508_Motor_Send_Current_h();

        if (laser_status > 18 && SBUS_Analyse_Switch(SBUS.CH12) == 2)
        {
            M3508SpeedPID4.KP = 7;
            M3508SpeedPID5.KP = 7;
            M3508SpeedPID6.KP = 7;
            M3508SpeedPID4.KI = 0.7;
            M3508SpeedPID5.KI = 0.7;
            M3508SpeedPID6.KI = 0.7;
            // x-aixs
            PID_w_move_distance.KP = 2.5;
            PID_w_move_distance.KD = 0.3;
            if (2 * PI / 3 - Robot.Robot_in_self.position_now.yaw >= -0.02 && 2 * PI / 3 - Robot.Robot_in_self.position_now.yaw <= 0.02)
            {
                PID_w_move_distance.SumErr = 0;
                Robot.Robot_in_world.velocity_exp.Vw = 0;
            }
            else
            {
                Robot.Robot_in_world.velocity_exp.Vw = -PIDCal_pos(&PID_w_move_distance, 2 * PI / 3 - Robot.Robot_in_self.position_now.yaw);
            }
        }
        osDelay(1);
    }
    /* USER CODE END M3508_Task */
}

void SerialPlot_Task(void *argument)
{
    /* USER CODE BEGIN SerialPlot_Task */
    /* Infinite loop */
    for (;;)
    {
        if (SBUS_Analyse_Switch(SBUS.CH11) == 0)
        {
            HAL_UART_Transmit(&huart6, get_ball, 1, 1000);
            while (SBUS_Analyse_Switch(SBUS.CH11) == 0)
            {
                osDelay(1);
            }
        }
        else if (SBUS_Analyse_Switch(SBUS.CH11) == 2)
        {
            HAL_UART_Transmit(&huart6, shoot_ball, 1, 1000);
            while (SBUS_Analyse_Switch(SBUS.CH11) == 2)
            {
                osDelay(1);
            }
        }

        // For R2 restarting
        if (SBUS_Analyse_Switch(SBUS.CH15) == 2 && SBUS_Analyse_Switch(SBUS.CH12) == 2)
        {
            y_pre = Robot.Robot_in_self.position_now.y;
            while (pid_done_ball == 0)
            {
                PID_Vx_Laser_area2(pos_ball_x[6][1], y_pre, 2 * PI / 3);
                osDelay(1);
            }
            pid_done_ball = 0;

            Robot.Robot_in_world.velocity_exp.Vx = 1.4;
            Robot.Robot_in_world.velocity_exp.Vy = 0;
            osDelay(900);

            Robot.Robot_in_world.velocity_exp.Vx = 0;
            Robot.Robot_in_world.velocity_exp.Vy = 0;
            osDelay(50);

            Robot.Robot_in_world.velocity_exp.Vx = 0;
            Robot.Robot_in_world.velocity_exp.Vy = -1;
            osDelay(1500);

            Robot.Robot_in_world.velocity_exp.Vx = 0;
            Robot.Robot_in_world.velocity_exp.Vy = 0;

            // x_pre = Robot.Robot_in_self.position_now.x;
            // while (pid_done_ball == 0)
            // {
            //     PID_Vy_Laser_area2(x_pre, 1.571, 2 * PI / 3);
            //     osDelay(1);
            // }
            // pid_done_ball = 0;
        }
        osDelay(1);
    }
    /* USER CODE END SerialPlot_Task */
}

void Restart_Task(void *argument)
{
    /* USER CODE BEGIN Restart_Task */
    /* Infinite loop */
    for (;;)
    {
        // Use new controller to save one-area when there are uncommon situations in one-area
        if (SBUS_Analyse_Switch(SBUS.CH6) == 0)
        {
            move_flag_laser = 0; // �Ȱ��Զ��ص�
            jishu_0_x = 0;
            jishu_0_y = 0;
            jishu_0_w = 0;
            if (laser_status == 2 || laser_status == 3 || laser_status == 7 || laser_status == 8 || laser_status == 12 || laser_status == 13)
            {
                osDelay(1400);
                HAL_UART_Transmit(&huart6, Paw_Command, 1, 1000);
            }
            laser_status++;
            move_flag_laser = 1;
            while (SBUS_Analyse_Switch(SBUS.CH6) == 0)
            {
                osDelay(1);
            }
        }
        // if (SBUS_Analyse_Switch(SBUS.CH10) == 2) {
        //     // The process of restarting
        //     Robot.Robot_in_world.velocity_exp.Vx = 0.5;
        //     Robot.Robot_in_world.velocity_exp.Vy = 1.5;
        //     osDelay(200);

        //     Robot.Robot_in_world.velocity_exp.Vx = 0;
        //     Robot.Robot_in_world.velocity_exp.Vy = 1.5;
        //     osDelay(2000);

        //     laser_status = 17;

        //     while (SBUS_Analyse_Switch(SBUS.CH10) == 2) {
        //         osDelay(1);
        //     }
        // }
        osDelay(1);
    }
    /* USER CODE END Restart_Task */
}
